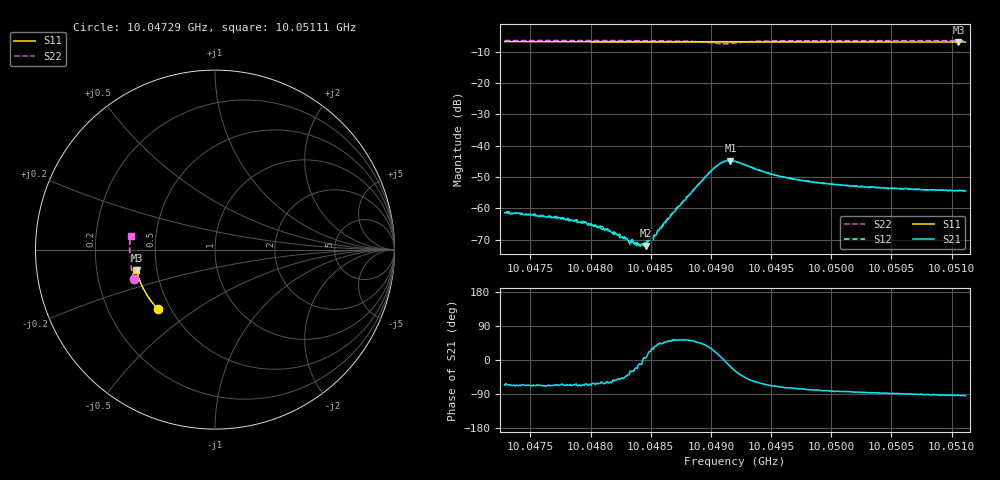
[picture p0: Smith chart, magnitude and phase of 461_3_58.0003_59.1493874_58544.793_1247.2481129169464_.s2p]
#  HZ  S  RI  R  50.00
! Rohde & Schwarz Vector Network Analyzer
! Rohde-Schwarz,ZNB20-2Port,1311601062101988,3.16
! Created: UTC 3/21/2024, 1:10:58 AM
! freq[Hz]  re:S11  im:S11  re:S21  im:S21  re:S12  im:S12  re:S22  im:S22
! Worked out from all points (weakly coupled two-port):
!   401 points, 10.04729 GHz to 10.05111 GHz, reference 50 ohm
!   highest |S21| = -44.79 dB at 10.04916 GHz (marker M1); lowest = -71.9 dB at 10.04846 GHz (marker M2)
!   lowest |S11| = -6.9 dB at 10.05106 GHz (marker M3), VSWR 2.65, Z = 19.1 - j5.58 ohm
!   |S11| at or under -10 dB: nowhere
!   |S22| runs from -7.4 to -6.4 dB; largest |S21 - S12| = 0.00039
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1.0047285e10  -0.3186 -0.3301  0.000337 -0.000776  0.000374 -0.000762  -0.4506 -0.1632
1.0047725e10  -0.3383 -0.3087  0.000279 -0.00062  0.000312 -0.000624  -0.4592 -0.134
1.0047927e10  -0.3466 -0.2982  0.000221 -0.000532  0.000304 -0.000523  -0.4626 -0.1203
1.0048118e10  -0.3546 -0.2885  0.000209 -0.000391  0.000245 -0.000387  -0.465 -0.1067
1.0048185e10  -0.3573 -0.2849  0.000247 -0.000324  0.000231 -0.000312  -0.4658 -0.1017
1.0048242e10  -0.3594 -0.282  0.000211 -0.000264  0.000257 -0.000291  -0.4665 -0.0974
1.004831e10  -0.362 -0.2783  0.000242 -0.000197  0.000247 -0.00018  -0.4673 -0.0924
1.0048396e10  -0.3654 -0.2737  0.000247 -5.79e-05  0.000262 -8.07e-05  -0.4676 -0.0855
1.0048424e10  -0.3666 -0.2723  0.000264 -5.25e-05  0.000279 -6.88e-06  -0.4679 -0.0833
1.0048463e10  -0.368 -0.27  0.000251 3.38e-05  0.000267 7.48e-05  -0.4679 -0.0803
1.004853e10  -0.3704 -0.2665  0.000303 0.000214  0.000295 0.000231  -0.468 -0.0746
1.0048568e10  -0.3718 -0.2645  0.000331 0.000297  0.000329 0.000306  -0.4678 -0.0712
1.0048712e10  -0.3769 -0.2564  0.000586 0.000763  0.000547 0.000829  -0.4662 -0.0576
1.0048999e10  -0.3866 -0.2402  0.00334 0.00197  0.00322 0.00216  -0.4396 -0.0313
1.0049095e10  -0.3896 -0.2348  0.00538 0.000397  0.00543 0.000725  -0.4226 -0.0434
1.0049162e10  -0.3914 -0.2312  0.00549 -0.00175  0.00562 -0.0014  -0.4249 -0.0597
1.00492e10  -0.3927 -0.2291  0.00494 -0.00269  0.00514 -0.00239  -0.4317 -0.0655
1.0049506e10  -0.4024 -0.2113  0.00133 -0.00323  0.00154 -0.00318  -0.4682 -0.0457
1.0049841e10  -0.4118 -0.1913  0.000501 -0.00258  0.000652 -0.00253  -0.475 -0.0164
1.0050483e10  -0.4268 -0.1522  7.48e-05 -0.00206  0.00021 -0.0021  -0.4753 0.0308
1.0051057e10  -0.437 -0.116  -0.000107 -0.00189  3.91e-10 -0.00189  -0.4711 0.0698
1.0051115e10  -0.438 -0.1124  -0.000154 -0.00188  -3.89e-05 -0.00191  -0.4704 0.0737
